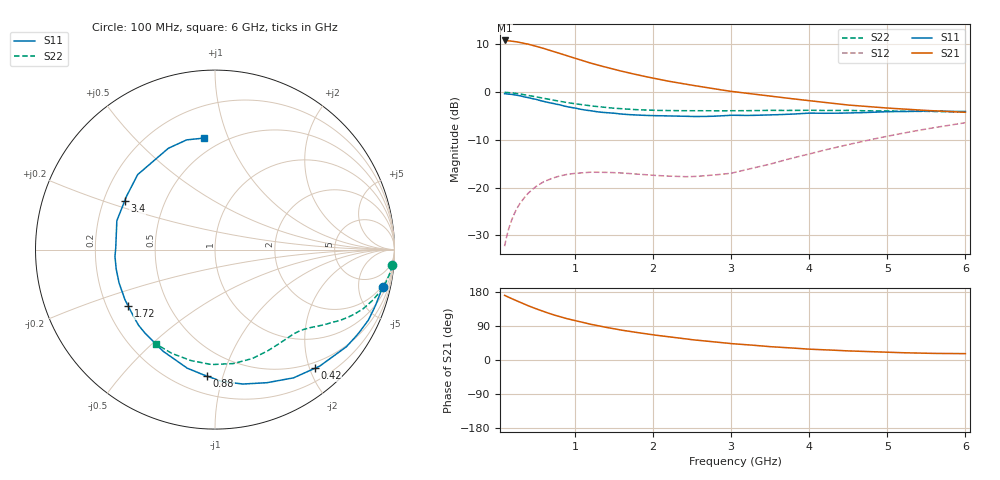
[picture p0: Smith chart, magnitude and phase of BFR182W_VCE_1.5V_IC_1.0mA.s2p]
! Infineon Technologies  Discrete & RF Semiconductors
! BFR182W
! VCE =  1.5 V,  IC =  1.0 mA
! Common Emitter S-Parameters:  Nov 2015
# GHz  S  MA  R  50
!  f  S11  S21  S12  S22
! GHz  MAG  ANG  MAG  ANG  MAG  ANG  MAG  ANG
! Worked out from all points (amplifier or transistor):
!   192 points, 100 MHz to 6 GHz, reference 50 ohm
!   highest |S21| = 10.8 dB at 100 MHz (marker M1)
!   |S21| within 3 dB of that: start of sweep to 860.2 MHz
!   unconditionally stable (mu >= 1): 2.119 GHz to 3.421 GHz
!   at 440 MHz: K = 0.21, MSG = 15.2 dB, |S12| = -20.6 dB
!   at 1.7 GHz: K = 0.81, MSG = 10.5 dB, |S12| = -17.1 dB
!   at 6 GHz: K = 0.84, MSG = 1.1 dB, |S12| = -6.4 dB
!   S11 on the Smith chart (normalised r, x): 100 MHz: 1.75, -8.78; 420 MHz: 0.40, -2.08; 880 MHz: 0.32, -0.89; 1.72 GHz: 0.29, -0.27; 3.4 GHz: 0.29, +0.23; 6 GHz: 0.40, +0.82
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0.1  0.9577 -12.5  3.449 170.6  0.0244 82.4  0.9906 -5.0
0.16  0.9456 -19.9  3.414 164.8  0.0388 77.9  0.9825 -7.9
0.26  0.9212 -31.9  3.331 155.7  0.0609 71.1  0.9607 -12.4
0.4  0.8729 -48.0  3.159 143.3  0.087 62.2  0.9202 -18.1
0.42  0.8637 -50.0  3.124 141.8  0.09 60.9  0.9137 -18.8
0.5  0.838 -58.5  3.006 135.3  0.1023 56.3  0.8893 -21.7
0.6  0.7964 -68.6  2.849 127.8  0.115 51.4  0.8572 -24.7
0.7  0.7649 -78.3  2.687 120.8  0.1245 47.1  0.8277 -27.3
0.88  0.7062 -93.6  2.412 110.2  0.1362 40.7  0.7792 -31.0
1  0.6785 -103.2  2.255 103.8  0.1407 37.4  0.7519 -33.4
1.1  0.6523 -109.9  2.121 99.3  0.1426 35.1  0.7331 -35.0
1.2  0.6357 -117.1  2.002 94.3  0.1447 32.9  0.7148 -36.6
1.4  0.6074 -129.9  1.81 86.1  0.1443 30.3  0.6869 -39.2
1.6  0.5866 -140.8  1.645 78.7  0.142 29.1  0.6661 -41.8
1.72  0.577 -146.8  1.56 75.0  0.1398 29.3  0.6568 -43.3
2.08  0.5627 -163.9  1.352 64.4  0.1333 32.1  0.6401 -48.2
2.5  0.5533 179.8  1.174 53.6  0.1301 39.9  0.6352 -53.9
3.1  0.5681 160.7  0.99 41.8  0.1476 55.4  0.6356 -63.9
3.4  0.5715 151.8  0.923 37.0  0.1685 61.4  0.6391 -69.3
4.1  0.5984 133.5  0.793 27.8  0.2356 67.1  0.6409 -83.0
5.1  0.6218 112.6  0.67 19.8  0.3567 63.2  0.6297 -104.1
6  0.6243 95.6  0.612 16.8  0.476 54.4  0.6203 -122.2
